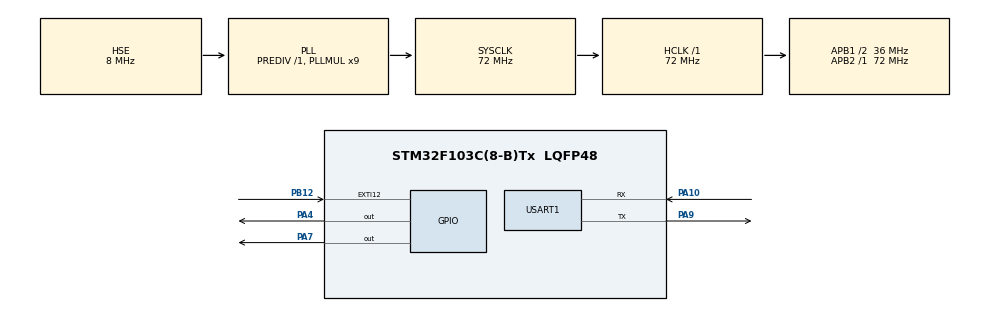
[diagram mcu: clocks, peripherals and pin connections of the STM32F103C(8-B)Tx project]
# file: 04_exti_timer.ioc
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Mcu.Family=STM32F1
Mcu.Name=STM32F103C(8-B)Tx
Mcu.Package=LQFP48
NVIC.EXTI15_10_IRQn=true\:0\:0\:false\:false\:true\:true\:true\:true
NVIC.PriorityGroup=NVIC_PRIORITYGROUP_4
NVIC.TIM2_IRQn=true\:1\:0\:true\:false\:true\:true\:true\:true
NVIC.TIM4_IRQn=true\:2\:0\:true\:false\:true\:true\:true\:true
PA10.Mode=Asynchronous
PA10.Signal=USART1_RX
PA13.Mode=Serial_Wire
PA13.Signal=SYS_JTMS-SWDIO
PA14.Mode=Serial_Wire
PA14.Signal=SYS_JTCK-SWCLK
PA4.PinState=GPIO_PIN_SET
PA4.Signal=GPIO_Output
PA7.PinState=GPIO_PIN_SET
PA7.Signal=GPIO_Output
PA9.Mode=Asynchronous
PA9.Signal=USART1_TX
PB12.GPIO_ModeDefaultEXTI=GPIO_MODE_IT_FALLING
PB12.GPIO_PuPd=GPIO_PULLUP
PB12.Signal=GPXTI12
PD0-OSC_IN.Mode=HSE-External-Oscillator
PD0-OSC_IN.Signal=RCC_OSC_IN
PD1-OSC_OUT.Mode=HSE-External-Oscillator
PD1-OSC_OUT.Signal=RCC_OSC_OUT
ProjectManager.HeapSize=0x200
ProjectManager.StackSize=0x400
ProjectManager.TargetToolchain=Makefile
RCC.AHBFreq_Value=72000000
RCC.APB1CLKDivider=RCC_HCLK_DIV2
RCC.APB1Freq_Value=36000000
RCC.APB1TimFreq_Value=72000000
RCC.APB2Freq_Value=72000000
RCC.APB2TimFreq_Value=72000000
RCC.HCLKFreq_Value=72000000
RCC.PLLMUL=RCC_PLL_MUL9
RCC.PLLSourceVirtual=RCC_PLLSOURCE_HSE
RCC.SYSCLKFreq_VALUE=72000000
RCC.SYSCLKSource=RCC_SYSCLKSOURCE_PLLCLK
RCC.USBFreq_Value=72000000
TIM2.Period=1000-1
TIM2.Prescaler=7200-1
TIM4.Period=10000-1
TIM4.Prescaler=7200-1
USART1.VirtualMode=VM_ASYNC
VP_TIM2_VS_ClockSourceINT.Mode=Internal
VP_TIM4_VS_ClockSourceINT.Mode=Internal
board=custom

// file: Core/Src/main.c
/* USER CODE BEGIN Header */
/**
  ******************************************************************************
  * @file           : main.c
  * @brief          : Main program body
  ******************************************************************************
  * @attention
  *
  * Copyright (c) 2026 STMicroelectronics.
  * All rights reserved.
  *
  * This software is licensed under terms that can be found in the LICENSE file
  * in the root directory of this software component.
  * If no LICENSE file comes with this software, it is provided AS-IS.
  *
  ******************************************************************************
  */
/* USER CODE END Header */
#include "main.h"
#include "tim.h"
#include "usart.h"
#include "gpio.h"

/* USER CODE BEGIN Includes */
#include <stdio.h>
#include <string.h>
/* USER CODE END Includes */

/* USER CODE BEGIN PV */
// 标明变量经常改变以免编译器使用旧值
volatile uint8_t flag1,flag2,count=0;
/* USER CODE END PV */

void SystemClock_Config(void);

int main(void)
{

  /* MCU Configuration--------------------------------------------------------*/

  /* Reset of all peripherals, Initializes the Flash interface and the Systick. */
  HAL_Init();

  /* Configure the system clock */
  SystemClock_Config();

  /* Initialize all configured peripherals */
  MX_GPIO_Init();
  MX_TIM4_Init();
  MX_USART1_UART_Init();
  MX_TIM2_Init();
  /* USER CODE BEGIN 2 */
HAL_TIM_Base_Start_IT(&htim4);
HAL_TIM_Base_Start_IT(&htim2);
setvbuf(stdout, NULL, _IONBF, 0);
  /* USER CODE END 2 */

  /* Infinite loop */
  /* USER CODE BEGIN WHILE */
  while (1)
  {
    if(flag1==1){
    HAL_GPIO_TogglePin(GPIOA,GPIO_PIN_7);
    flag1=0;}
    if(flag2==2){
    HAL_GPIO_TogglePin(GPIOA,GPIO_PIN_4);
    flag2=0;}
    if(count>=10){
      printf("hi\r\n");
      count=0;
    }
    /* USER CODE END WHILE */

  }
}

void SystemClock_Config(void)
{
  RCC_OscInitTypeDef RCC_OscInitStruct = {0};
  RCC_ClkInitTypeDef RCC_ClkInitStruct = {0};

  /** Initializes the RCC Oscillators according to the specified parameters
  * in the RCC_OscInitTypeDef structure.
  */
  RCC_OscInitStruct.OscillatorType = RCC_OSCILLATORTYPE_HSE;
  RCC_OscInitStruct.HSEState = RCC_HSE_ON;
  RCC_OscInitStruct.HSEPredivValue = RCC_HSE_PREDIV_DIV1;
  RCC_OscInitStruct.HSIState = RCC_HSI_ON;
  RCC_OscInitStruct.PLL.PLLState = RCC_PLL_ON;
  RCC_OscInitStruct.PLL.PLLSource = RCC_PLLSOURCE_HSE;
  RCC_OscInitStruct.PLL.PLLMUL = RCC_PLL_MUL9;
  if (HAL_RCC_OscConfig(&RCC_OscInitStruct) != HAL_OK)
  {
    Error_Handler();
  }

  /** Initializes the CPU, AHB and APB buses clocks
  */
  RCC_ClkInitStruct.ClockType = RCC_CLOCKTYPE_HCLK|RCC_CLOCKTYPE_SYSCLK
                              |RCC_CLOCKTYPE_PCLK1|RCC_CLOCKTYPE_PCLK2;
  RCC_ClkInitStruct.SYSCLKSource = RCC_SYSCLKSOURCE_PLLCLK;
  RCC_ClkInitStruct.AHBCLKDivider = RCC_SYSCLK_DIV1;
  RCC_ClkInitStruct.APB1CLKDivider = RCC_HCLK_DIV2;
  RCC_ClkInitStruct.APB2CLKDivider = RCC_HCLK_DIV1;

  if (HAL_RCC_ClockConfig(&RCC_ClkInitStruct, FLASH_LATENCY_2) != HAL_OK)
  {
    Error_Handler();
  }
}

/* USER CODE BEGIN 4 */
// 在中断回调函数里置标志而不操作
void HAL_GPIO_EXTI_Callback(uint16_t GPIO_Pin){
  if(GPIO_Pin==GPIO_PIN_12){
  //使用时间戳来消抖
  static uint32_t lasttime;
  uint32_t currenttime=HAL_GetTick();
  if(currenttime-lasttime>=50){
    flag1=1;
    lasttime=currenttime;}
}
}
//使用定时中断回调
void HAL_TIM_PeriodElapsedCallback(TIM_HandleTypeDef *htim){
  // 每1s执行一次
  if(htim->Instance==TIM4){
  flag2=2;}
  // 每0.1s执行一次（count为9时总共执行10次即1s），通过累加来软件计时
  if(htim->Instance==TIM2){
  count++;}
}
int _write(int file, char *ptr, int len)
{
    (void)file;
    HAL_UART_Transmit(&huart1, (uint8_t *)ptr, len, HAL_MAX_DELAY);
    return len;
}
/* USER CODE END 4 */

void Error_Handler(void)
{
  __disable_irq();
  while (1)
  {
  }
}
